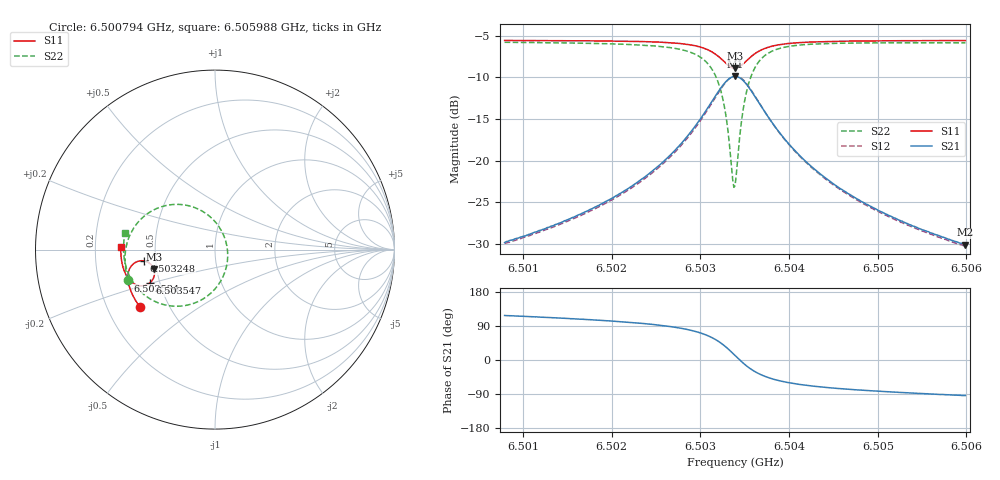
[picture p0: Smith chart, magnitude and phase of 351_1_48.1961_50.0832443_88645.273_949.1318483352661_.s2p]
#  HZ  S  RI  R  50.00
! Rohde & Schwarz Vector Network Analyzer
! Rohde-Schwarz,ZNB20-2Port,1311601062101988,3.16
! Created: UTC 3/20/2024, 11:51:47 AM
! freq[Hz]  re:S11  im:S11  re:S21  im:S21  re:S12  im:S12  re:S22  im:S22
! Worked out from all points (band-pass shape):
!   401 points, 6.500794 GHz to 6.505988 GHz, reference 50 ohm
!   highest |S21| = -9.87 dB at 6.503391 GHz (marker M1); lowest = -30.1 dB at 6.505988 GHz (marker M2)
!   |S21| within 3 dB of the highest: 6.503131 GHz to 6.50365 GHz (519.4 kHz wide, 0.00799 % of centre)
!   lowest |S11| = -8.9 dB at 6.503391 GHz (marker M3), VSWR 2.11, Z = 24.1 - j6.11 ohm
!   |S11| at or under -10 dB: nowhere
!   |S22| runs from -23.2 to -5.8 dB; largest |S21 - S12| = 0.011
!   S11 on the Smith chart (normalised r, x): 6.500794 GHz: 0.34, -0.30; 6.502534 GHz: 0.33, -0.15; 6.503248 GHz: 0.43, -0.06; 6.503547 GHz: 0.44, -0.20; 6.505988 GHz: 0.31, +0.01
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6.5007938e9  -0.419 -0.3187  -0.0149 0.0287  -0.0133 0.0289  -0.485 -0.1683
6.5016638e9  -0.4576 -0.2558  -0.0147 0.0461  -0.0122 0.0457  -0.5009 -0.0782
6.5021572e9  -0.4754 -0.2129  -0.0118 0.0656  -0.00872 0.0645  -0.4991 -0.0102
6.5025337e9  -0.4849 -0.1723  -0.00336 0.0935  0.00021 0.0914  -0.4815 0.0625
6.5028324e9  -0.4834 -0.129  0.02 0.1343  0.0238 0.1303  -0.4327 0.1478
6.5030272e9  -0.4668 -0.0918  0.066 0.1747  0.0687 0.169  -0.344 0.2199
6.503157e9  -0.4354 -0.0675  0.1339 0.1972  0.1351 0.1911  -0.2205 0.2521
6.5032479e9  -0.3979 -0.0623  0.209 0.1879  0.2092 0.1825  -0.0906 0.2243
6.5032998e9  -0.3728 -0.0706  0.2564 0.1606  0.2571 0.1559  -0.0117 0.1685
6.5033648e9  -0.3466 -0.0964  0.3035 0.0984  0.3058 0.0936  0.0592 0.0494
6.5033907e9  -0.3403 -0.1105  0.3137 0.0671  0.3165 0.0614  0.0701 -0.00904
6.5034037e9  -0.3385 -0.1179  0.3162 0.051  0.3194 0.0445  0.0709 -0.039
6.5034556e9  -0.3393 -0.1481  0.311 -0.0134  0.3137 -0.022  0.0437 -0.1528
6.5034816e9  -0.3442 -0.1618  0.3002 -0.0417  0.3019 -0.0516  0.0151 -0.2007
6.5035465e9  -0.3649 -0.1871  0.2585 -0.0947  0.2572 -0.1057  -0.0785 -0.2818
6.5036504e9  -0.4034 -0.2018  0.1859 -0.1305  0.1807 -0.1397  -0.2245 -0.3154
6.5038192e9  -0.4487 -0.192  0.1062 -0.1281  0.0994 -0.1329  -0.3683 -0.2705
6.504001e9  -0.4757 -0.1706  0.0627 -0.1087  0.0566 -0.1109  -0.4388 -0.2069
6.5042607e9  -0.4961 -0.1405  0.0333 -0.0852  0.0287 -0.0857  -0.4814 -0.1359
6.5046372e9  -0.5114 -0.102  0.0153 -0.0633  0.0117 -0.0629  -0.5032 -0.0639
6.5051307e9  -0.521 -0.0567  0.00495 -0.0465  0.00266 -0.0459  -0.5096 0.00398
6.5059876e9  -0.5258 0.0153  -0.00205 -0.0313  -0.0033 -0.0306  -0.5013 0.0927
